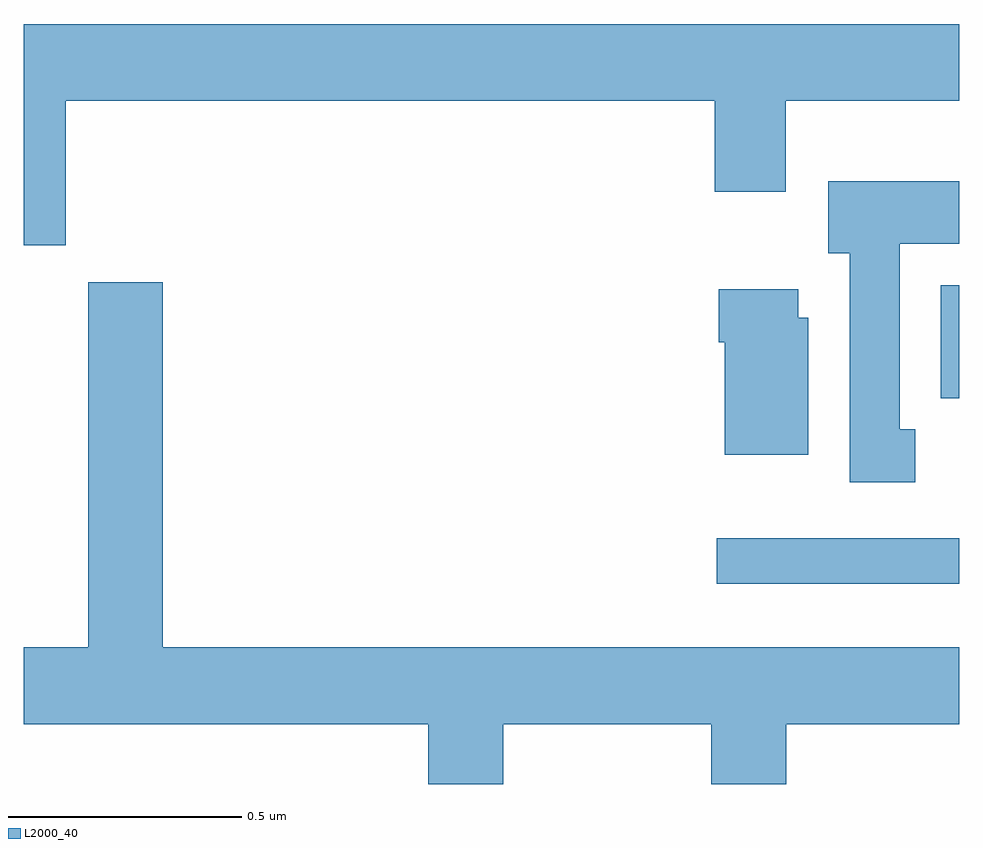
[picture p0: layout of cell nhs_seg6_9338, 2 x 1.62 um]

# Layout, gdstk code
import gdstk
lib = gdstk.Library(unit=1e-6, precision=1e-09)
def R(c, l, rs):  # rectangles x0, y0, x1, y1
    for r in rs: c.add(gdstk.rectangle(r[:2], r[2:], *l))
def P(c, l, *ps):  # polygons
    for p in ps: c.add(gdstk.Polygon(p, *l))
L2000_40 = (2000, 40)

nhs_seg6_9338 = lib.new_cell('nhs_seg6_9338')
R(nhs_seg6_9338, L2000_40, [(233.481,988.928,234,989.025), (233.96,989.324,234,989.566)])
P(nhs_seg6_9338, L2000_40, [(232.09,989.96),(233.477,989.96),(233.477,989.766),(233.629,989.766),(233.629,989.96),(234,989.96),(234,990.124),(232,990.124),(232,989.651),(232.09,989.651)],
  [(233.905,989.258),(233.872,989.258),(233.872,989.654),(234,989.654),(234,989.788),(233.72,989.788),(233.72,989.634),(233.765,989.634),(233.765,989.145),(233.905,989.145)],
  [(233.025,988.628),(233.47,988.628),(233.47,988.5),(233.63,988.5),(233.63,988.628),(234,988.628),(234,988.792),(232.298,988.792),(232.298,989.572),(232.138,989.572),(232.138,988.792),(232,988.792),(232,988.628),(232.865,988.628),(232.865,988.5),(233.025,988.5)],
  [(233.677,989.496),(233.656,989.496),(233.656,989.557),(233.486,989.557),(233.486,989.444),(233.498,989.444),(233.498,989.204),(233.677,989.204)])

lib.write_gds('nhs_seg6_9338.gds')
